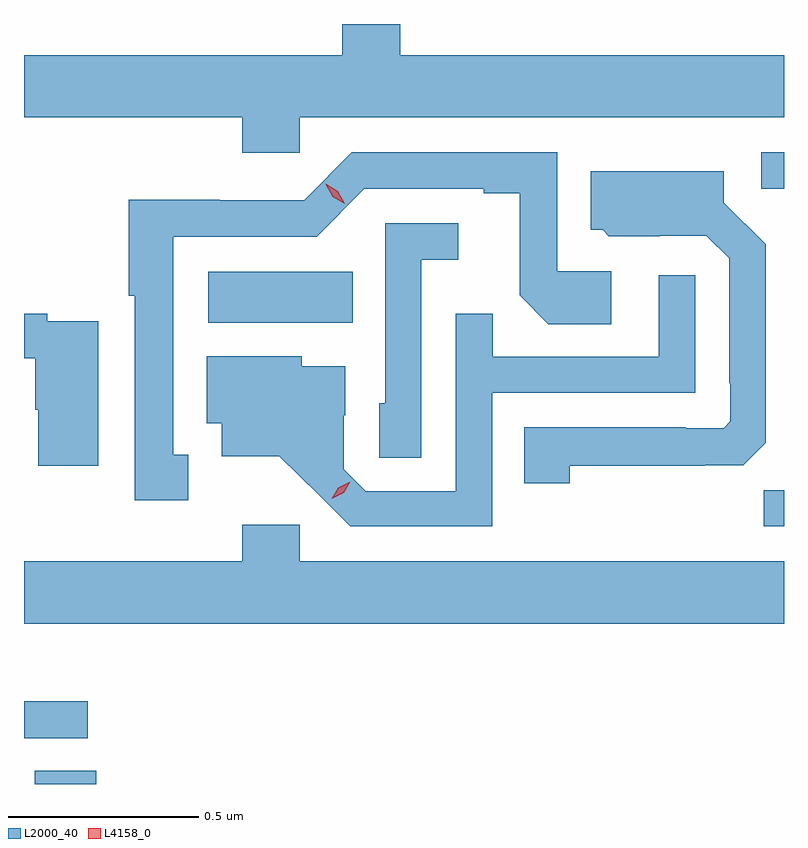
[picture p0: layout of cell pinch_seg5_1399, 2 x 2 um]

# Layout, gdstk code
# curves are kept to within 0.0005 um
import gdstk
lib = gdstk.Library(unit=1e-6, precision=1e-09)
def R(c, l, rs):  # rectangles x0, y0, x1, y1
    for r in rs: c.add(gdstk.rectangle(r[:2], r[2:], *l))
def P(c, l, *ps):  # polygons
    for p in ps: c.add(gdstk.Polygon(p, *l))
L2000_40 = (2000, 40)
L4158_0 = (4158, 0)

pinch_seg5_1399 = lib.new_cell('pinch_seg5_1399')
R(pinch_seg5_1399, L2000_40, [(299.645,881.646,299.807,881.681), (299.617,881.766,299.785,881.864), (301.564,882.324,301.617,882.419), (300.102,882.86,300.482,882.994), (301.557,883.212,301.617,883.308)])
P(pinch_seg5_1399, L2000_40, [(300.342,883.4),(301.617,883.4),(301.617,883.564),(300.607,883.564),(300.607,883.646),(300.455,883.646),(300.455,883.564),(299.617,883.564),(299.617,883.4),(300.191,883.4),(300.191,883.307),(300.342,883.307)],
  [(300.049,882.513),(300.01,882.513),(300.01,883.086),(300.387,883.086),(300.513,883.212),(300.827,883.212),(300.827,883.2),(300.921,883.2),(300.921,882.932),(300.997,882.856),(301.162,882.856),(301.162,882.996),(301.02,882.996),(301.02,883.308),(300.48,883.308),(300.354,883.182),(300.132,883.182),(300.132,883.184),(299.892,883.184),(299.892,882.931),(299.909,882.931),(299.909,882.393),(300.049,882.393)],
  [(301.053,882.484),(301.409,882.484),(301.409,882.485),(301.51,882.485),(301.569,882.544),(301.569,883.066),(301.459,883.176),(301.459,883.258),(301.109,883.258),(301.109,883.104),(301.14,883.104),(301.156,883.088),(301.29,883.088),(301.29,883.089),(301.413,883.089),(301.473,883.029),(301.473,882.7),(301.476,882.7),(301.476,882.6),(301.458,882.582),(301.358,882.582),(301.358,882.585),(300.934,882.585),(300.934,882.438),(301.053,882.438)],
  [(300.663,883.025),(300.76,883.025),(300.76,883.122),(300.567,883.122),(300.567,882.648),(300.552,882.648),(300.552,882.505),(300.663,882.505)],
  [(300.849,882.675),(301.383,882.675),(301.383,882.985),(301.287,882.985),(301.287,882.771),(300.851,882.771),(300.851,882.884),(300.753,882.884),(300.753,882.417),(300.516,882.417),(300.459,882.474),(300.459,882.616),(300.463,882.616),(300.463,882.745),(300.348,882.745),(300.348,882.772),(300.098,882.772),(300.098,882.596),(300.137,882.596),(300.137,882.509),(300.289,882.509),(300.476,882.324),(300.849,882.324)],
  [(299.812,882.864),(299.678,882.864),(299.678,882.884),(299.617,882.884),(299.617,882.766),(299.647,882.766),(299.647,882.631),(299.654,882.631),(299.654,882.483),(299.812,882.483)],
  [(301.617,882.232),(300.342,882.232),(300.342,882.328),(300.191,882.328),(300.191,882.232),(299.617,882.232),(299.617,882.068),(301.617,882.068)])
P(pinch_seg5_1399, L4158_0, [(300.427,882.397),(300.427,882.397),(300.444,882.426),(300.475,882.441),(300.475,882.441),(300.475,882.441),(300.458,882.412),(300.427,882.397)],
  [(300.461,883.173),(300.429,883.192),(300.411,883.224),(300.411,883.225),(300.411,883.225),(300.443,883.206),(300.461,883.173),(300.461,883.173)])

lib.write_gds('pinch_seg5_1399.gds')
